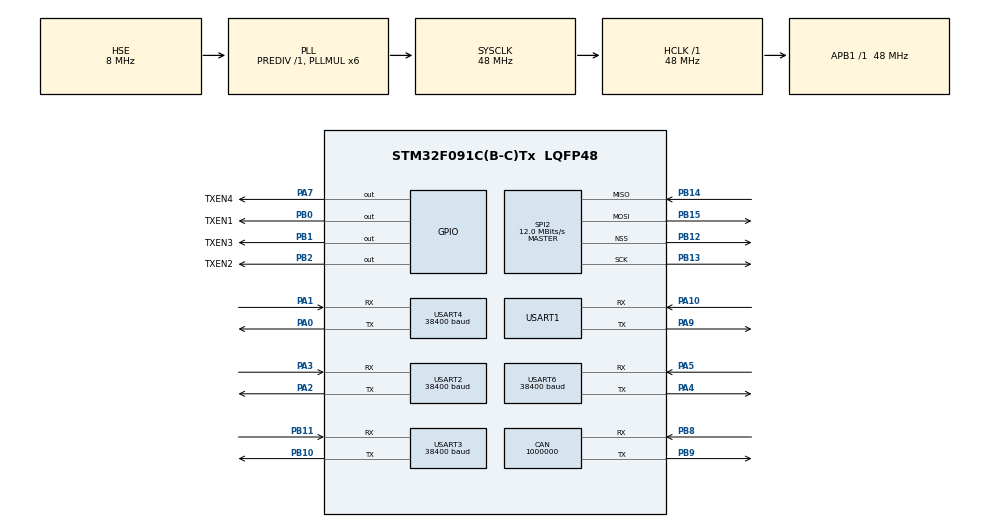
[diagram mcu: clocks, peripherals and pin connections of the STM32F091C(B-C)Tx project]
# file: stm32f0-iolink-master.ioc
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CAN.CalculateBaudRate=1000000
CAN.CalculateTimeQuantum=333.3333333333333
Dma.Request0=USART2_RX
Dma.Request1=USART2_TX
Dma.Request2=USART3_RX
Dma.Request3=USART3_TX
Dma.Request4=USART4_RX
Dma.Request5=USART4_TX
Dma.Request6=USART6_RX
Dma.Request7=USART6_TX
Dma.USART2_RX.0.Direction=DMA_PERIPH_TO_MEMORY
Dma.USART2_RX.0.Instance=DMA1_Channel1
Dma.USART2_RX.0.MemDataAlignment=DMA_MDATAALIGN_BYTE
Dma.USART2_RX.0.MemInc=DMA_MINC_ENABLE
Dma.USART2_RX.0.Mode=DMA_CIRCULAR
Dma.USART2_RX.0.PeriphDataAlignment=DMA_PDATAALIGN_BYTE
Dma.USART2_RX.0.PeriphInc=DMA_PINC_DISABLE
Dma.USART2_RX.0.Priority=DMA_PRIORITY_LOW
Dma.USART2_TX.1.Direction=DMA_MEMORY_TO_PERIPH
Dma.USART2_TX.1.Instance=DMA1_Channel2
Dma.USART2_TX.1.MemDataAlignment=DMA_MDATAALIGN_BYTE
Dma.USART2_TX.1.MemInc=DMA_MINC_ENABLE
Dma.USART2_TX.1.Mode=DMA_NORMAL
Dma.USART2_TX.1.PeriphDataAlignment=DMA_PDATAALIGN_BYTE
Dma.USART2_TX.1.PeriphInc=DMA_PINC_DISABLE
Dma.USART2_TX.1.Priority=DMA_PRIORITY_LOW
Dma.USART3_RX.2.Direction=DMA_PERIPH_TO_MEMORY
Dma.USART3_RX.2.Instance=DMA1_Channel3
Dma.USART3_RX.2.MemDataAlignment=DMA_MDATAALIGN_BYTE
Dma.USART3_RX.2.MemInc=DMA_MINC_ENABLE
Dma.USART3_RX.2.Mode=DMA_CIRCULAR
Dma.USART3_RX.2.PeriphDataAlignment=DMA_PDATAALIGN_BYTE
Dma.USART3_RX.2.PeriphInc=DMA_PINC_DISABLE
Dma.USART3_RX.2.Priority=DMA_PRIORITY_LOW
Dma.USART3_TX.3.Direction=DMA_MEMORY_TO_PERIPH
Dma.USART3_TX.3.Instance=DMA1_Channel4
Dma.USART3_TX.3.MemDataAlignment=DMA_MDATAALIGN_BYTE
Dma.USART3_TX.3.MemInc=DMA_MINC_ENABLE
Dma.USART3_TX.3.Mode=DMA_NORMAL
Dma.USART3_TX.3.PeriphDataAlignment=DMA_PDATAALIGN_BYTE
Dma.USART3_TX.3.PeriphInc=DMA_PINC_DISABLE
Dma.USART3_TX.3.Priority=DMA_PRIORITY_LOW
Dma.USART4_RX.4.Direction=DMA_PERIPH_TO_MEMORY
Dma.USART4_RX.4.Instance=DMA1_Channel5
Dma.USART4_RX.4.MemDataAlignment=DMA_MDATAALIGN_BYTE
Dma.USART4_RX.4.MemInc=DMA_MINC_ENABLE
Dma.USART4_RX.4.Mode=DMA_CIRCULAR
Dma.USART4_RX.4.PeriphDataAlignment=DMA_PDATAALIGN_BYTE
Dma.USART4_RX.4.PeriphInc=DMA_PINC_DISABLE
Dma.USART4_RX.4.Priority=DMA_PRIORITY_LOW
Dma.USART4_TX.5.Direction=DMA_MEMORY_TO_PERIPH
Dma.USART4_TX.5.Instance=DMA1_Channel7
Dma.USART4_TX.5.MemDataAlignment=DMA_MDATAALIGN_BYTE
Dma.USART4_TX.5.MemInc=DMA_MINC_ENABLE
Dma.USART4_TX.5.Mode=DMA_NORMAL
Dma.USART4_TX.5.PeriphDataAlignment=DMA_PDATAALIGN_BYTE
Dma.USART4_TX.5.PeriphInc=DMA_PINC_DISABLE
Dma.USART4_TX.5.Priority=DMA_PRIORITY_LOW
Dma.USART6_RX.6.Direction=DMA_PERIPH_TO_MEMORY
Dma.USART6_RX.6.Instance=DMA1_Channel6
Dma.USART6_RX.6.MemDataAlignment=DMA_MDATAALIGN_BYTE
Dma.USART6_RX.6.MemInc=DMA_MINC_ENABLE
Dma.USART6_RX.6.Mode=DMA_CIRCULAR
Dma.USART6_RX.6.PeriphDataAlignment=DMA_PDATAALIGN_BYTE
Dma.USART6_RX.6.PeriphInc=DMA_PINC_DISABLE
Dma.USART6_RX.6.Priority=DMA_PRIORITY_LOW
Dma.USART6_TX.7.Direction=DMA_MEMORY_TO_PERIPH
Dma.USART6_TX.7.Instance=DMA2_Channel1
Dma.USART6_TX.7.MemDataAlignment=DMA_MDATAALIGN_BYTE
Dma.USART6_TX.7.MemInc=DMA_MINC_ENABLE
Dma.USART6_TX.7.Mode=DMA_NORMAL
Dma.USART6_TX.7.PeriphDataAlignment=DMA_PDATAALIGN_BYTE
Dma.USART6_TX.7.PeriphInc=DMA_PINC_DISABLE
Dma.USART6_TX.7.Priority=DMA_PRIORITY_LOW
Mcu.Family=STM32F0
Mcu.Name=STM32F091C(B-C)Tx
Mcu.Package=LQFP48
NVIC.DMA1_Ch1_IRQn=true\:0\:0\:false\:false\:true\:false\:true\:true
NVIC.DMA1_Ch2_3_DMA2_Ch1_2_IRQn=true\:0\:0\:false\:false\:true\:false\:true\:true
NVIC.DMA1_Ch4_7_DMA2_Ch3_5_IRQn=true\:0\:0\:false\:false\:true\:false\:true\:true
NVIC.USART2_IRQn=true\:0\:0\:false\:false\:true\:true\:true\:true
NVIC.USART3_8_IRQn=true\:0\:0\:false\:false\:true\:true\:true\:true
PA0.Mode=Asynchronous
PA0.Signal=USART4_TX
PA1.Mode=Asynchronous
PA1.Signal=USART4_RX
PA10.Mode=Asynchronous
PA10.Signal=USART1_RX
PA13.Mode=Serial_Wire
PA13.Signal=SYS_SWDIO
PA14.Mode=Serial_Wire
PA14.Signal=SYS_SWCLK
PA2.Mode=Asynchronous
PA2.Signal=USART2_TX
PA3.Mode=Asynchronous
PA3.Signal=USART2_RX
PA4.Mode=Asynchronous
PA4.Signal=USART6_TX
PA5.Mode=Asynchronous
PA5.Signal=USART6_RX
PA7.GPIO_Label=TXEN4
PA7.Signal=GPIO_Output
PA9.Mode=Asynchronous
PA9.Signal=USART1_TX
PB0.GPIO_Label=TXEN1
PB0.Signal=GPIO_Output
PB1.GPIO_Label=TXEN3
PB1.Signal=GPIO_Output
PB10.Mode=Asynchronous
PB10.Signal=USART3_TX
PB11.Mode=Asynchronous
PB11.Signal=USART3_RX
PB12.Mode=NSS_Signal_Hard_Output
PB12.Signal=SPI2_NSS
PB13.Mode=Full_Duplex_Master
PB13.Signal=SPI2_SCK
PB14.Mode=Full_Duplex_Master
PB14.Signal=SPI2_MISO
PB15.Mode=Full_Duplex_Master
PB15.Signal=SPI2_MOSI
PB2.GPIO_Label=TXEN2
PB2.Signal=GPIO_Output
PB8.Mode=CAN_Activate
PB8.Signal=CAN_RX
PB9.Mode=CAN_Activate
PB9.Signal=CAN_TX
PF0-OSC_IN.Mode=HSE-External-Oscillator
PF0-OSC_IN.Signal=RCC_OSC_IN
PF1-OSC_OUT.Mode=HSE-External-Oscillator
PF1-OSC_OUT.Signal=RCC_OSC_OUT
ProjectManager.HeapSize=0x200
ProjectManager.StackSize=0x400
ProjectManager.TargetToolchain=STM32CubeIDE
RCC.AHBFreq_Value=48000000
RCC.APB1Freq_Value=48000000
RCC.APB1TimFreq_Value=48000000
RCC.HCLKFreq_Value=48000000
RCC.PLLMUL=RCC_PLL_MUL6
RCC.PLLSourceVirtual=RCC_PLLSOURCE_HSE
RCC.SYSCLKFreq_VALUE=48000000
RCC.SYSCLKSource=RCC_SYSCLKSOURCE_PLLCLK
SPI2.BaudRatePrescaler=SPI_BAUDRATEPRESCALER_4
SPI2.CalculateBaudRate=12.0 MBits/s
SPI2.DataSize=SPI_DATASIZE_16BIT
SPI2.Direction=SPI_DIRECTION_2LINES
SPI2.Mode=SPI_MODE_MASTER
SPI2.VirtualNSS=VM_NSSHARD
SPI2.VirtualType=VM_MASTER
TIM1.Prescaler=48-1
USART1.VirtualMode-Asynchronous=VM_ASYNC
USART2.BaudRate=38400
USART2.Parity=PARITY_EVEN
USART2.VirtualMode-Asynchronous=VM_ASYNC
USART2.WordLength=WORDLENGTH_9B
USART3.BaudRate=38400
USART3.Parity=PARITY_EVEN
USART3.VirtualMode-Asynchronous=VM_ASYNC
USART3.WordLength=WORDLENGTH_9B
USART4.BaudRate=38400
USART4.Parity=PARITY_EVEN
USART4.VirtualMode-Asynchronous=VM_ASYNC
USART4.WordLength=WORDLENGTH_9B
USART6.BaudRate=38400
USART6.Parity=PARITY_EVEN
USART6.VirtualMode=VM_ASYNC
USART6.WordLength=WORDLENGTH_9B
VP_TIM1_VS_ClockSourceINT.Mode=Internal
board=custom

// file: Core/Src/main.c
/* USER CODE BEGIN Header */
/**
  ******************************************************************************
  * @file           : main.c
  * @brief          : Main program body
  ******************************************************************************
  * @attention
  *
  * Copyright (c) 2024 STMicroelectronics.
  * All rights reserved.
  *
  * This software is licensed under terms that can be found in the LICENSE file
  * in the root directory of this software component.
  * If no LICENSE file comes with this software, it is provided AS-IS.
  *
  ******************************************************************************
  */
/* USER CODE END Header */
#include "main.h"

CAN_HandleTypeDef hcan;

SPI_HandleTypeDef hspi2;

TIM_HandleTypeDef htim1;

UART_HandleTypeDef huart1;
UART_HandleTypeDef huart2;
UART_HandleTypeDef huart3;
UART_HandleTypeDef huart4;
UART_HandleTypeDef huart6;
DMA_HandleTypeDef hdma_usart2_rx;
DMA_HandleTypeDef hdma_usart2_tx;
DMA_HandleTypeDef hdma_usart3_rx;
DMA_HandleTypeDef hdma_usart3_tx;
DMA_HandleTypeDef hdma_usart4_rx;
DMA_HandleTypeDef hdma_usart4_tx;
DMA_HandleTypeDef hdma_usart6_rx;
DMA_HandleTypeDef hdma_usart6_tx;

void SystemClock_Config(void);
static void MX_GPIO_Init(void);
static void MX_DMA_Init(void);
static void MX_TIM1_Init(void);
static void MX_CAN_Init(void);
static void MX_SPI2_Init(void);
static void MX_USART1_UART_Init(void);
static void MX_USART2_UART_Init(void);
static void MX_USART3_UART_Init(void);
static void MX_USART4_UART_Init(void);
static void MX_USART6_UART_Init(void);
/* USER CODE BEGIN PFP */
void iolink_main();
/* USER CODE END PFP */

int main(void)
{

  /* MCU Configuration--------------------------------------------------------*/

  /* Reset of all peripherals, Initializes the Flash interface and the Systick. */
  HAL_Init();

  /* Configure the system clock */
  SystemClock_Config();

  /* Initialize all configured peripherals */
  MX_GPIO_Init();
  MX_DMA_Init();
  MX_TIM1_Init();
  MX_CAN_Init();
  MX_SPI2_Init();
  MX_USART1_UART_Init();
  MX_USART2_UART_Init();
  MX_USART3_UART_Init();
  MX_USART4_UART_Init();
  MX_USART6_UART_Init();
  /* USER CODE BEGIN 2 */
  iolink_main();
  /* USER CODE END 2 */

  /* Infinite loop */
  while (1)
  {

  }
}

void SystemClock_Config(void)
{
  RCC_OscInitTypeDef RCC_OscInitStruct = {0};
  RCC_ClkInitTypeDef RCC_ClkInitStruct = {0};
  RCC_PeriphCLKInitTypeDef PeriphClkInit = {0};

  /** Initializes the RCC Oscillators according to the specified parameters
  * in the RCC_OscInitTypeDef structure.
  */
  RCC_OscInitStruct.OscillatorType = RCC_OSCILLATORTYPE_HSE;
  RCC_OscInitStruct.HSEState = RCC_HSE_ON;
  RCC_OscInitStruct.PLL.PLLState = RCC_PLL_ON;
  RCC_OscInitStruct.PLL.PLLSource = RCC_PLLSOURCE_HSE;
  RCC_OscInitStruct.PLL.PLLMUL = RCC_PLL_MUL6;
  RCC_OscInitStruct.PLL.PREDIV = RCC_PREDIV_DIV1;
  if (HAL_RCC_OscConfig(&RCC_OscInitStruct) != HAL_OK)
  {
    Error_Handler();
  }

  /** Initializes the CPU, AHB and APB buses clocks
  */
  RCC_ClkInitStruct.ClockType = RCC_CLOCKTYPE_HCLK|RCC_CLOCKTYPE_SYSCLK
                              |RCC_CLOCKTYPE_PCLK1;
  RCC_ClkInitStruct.SYSCLKSource = RCC_SYSCLKSOURCE_PLLCLK;
  RCC_ClkInitStruct.AHBCLKDivider = RCC_SYSCLK_DIV1;
  RCC_ClkInitStruct.APB1CLKDivider = RCC_HCLK_DIV1;

  if (HAL_RCC_ClockConfig(&RCC_ClkInitStruct, FLASH_LATENCY_1) != HAL_OK)
  {
    Error_Handler();
  }
  PeriphClkInit.PeriphClockSelection = RCC_PERIPHCLK_USART3|RCC_PERIPHCLK_USART1
                              |RCC_PERIPHCLK_USART2;
  PeriphClkInit.Usart1ClockSelection = RCC_USART1CLKSOURCE_PCLK1;
  PeriphClkInit.Usart2ClockSelection = RCC_USART2CLKSOURCE_PCLK1;
  PeriphClkInit.Usart3ClockSelection = RCC_USART3CLKSOURCE_PCLK1;
  if (HAL_RCCEx_PeriphCLKConfig(&PeriphClkInit) != HAL_OK)
  {
    Error_Handler();
  }
}

static void MX_CAN_Init(void)
{

  hcan.Instance = CAN;
  hcan.Init.Prescaler = 16;
  hcan.Init.Mode = CAN_MODE_NORMAL;
  hcan.Init.SyncJumpWidth = CAN_SJW_1TQ;
  hcan.Init.TimeSeg1 = CAN_BS1_1TQ;
  hcan.Init.TimeSeg2 = CAN_BS2_1TQ;
  hcan.Init.TimeTriggeredMode = DISABLE;
  hcan.Init.AutoBusOff = DISABLE;
  hcan.Init.AutoWakeUp = DISABLE;
  hcan.Init.AutoRetransmission = DISABLE;
  hcan.Init.ReceiveFifoLocked = DISABLE;
  hcan.Init.TransmitFifoPriority = DISABLE;
  if (HAL_CAN_Init(&hcan) != HAL_OK)
  {
    Error_Handler();
  }

}

static void MX_SPI2_Init(void)
{

  /* SPI2 parameter configuration*/
  hspi2.Instance = SPI2;
  hspi2.Init.Mode = SPI_MODE_MASTER;
  hspi2.Init.Direction = SPI_DIRECTION_2LINES;
  hspi2.Init.DataSize = SPI_DATASIZE_16BIT;
  hspi2.Init.CLKPolarity = SPI_POLARITY_LOW;
  hspi2.Init.CLKPhase = SPI_PHASE_1EDGE;
  hspi2.Init.NSS = SPI_NSS_HARD_OUTPUT;
  hspi2.Init.BaudRatePrescaler = SPI_BAUDRATEPRESCALER_4;
  hspi2.Init.FirstBit = SPI_FIRSTBIT_MSB;
  hspi2.Init.TIMode = SPI_TIMODE_DISABLE;
  hspi2.Init.CRCCalculation = SPI_CRCCALCULATION_DISABLE;
  hspi2.Init.CRCPolynomial = 7;
  hspi2.Init.CRCLength = SPI_CRC_LENGTH_DATASIZE;
  hspi2.Init.NSSPMode = SPI_NSS_PULSE_ENABLE;
  if (HAL_SPI_Init(&hspi2) != HAL_OK)
  {
    Error_Handler();
  }

}

static void MX_TIM1_Init(void)
{

  TIM_ClockConfigTypeDef sClockSourceConfig = {0};
  TIM_MasterConfigTypeDef sMasterConfig = {0};

  htim1.Instance = TIM1;
  htim1.Init.Prescaler = 48-1;
  htim1.Init.CounterMode = TIM_COUNTERMODE_UP;
  htim1.Init.Period = 65535;
  htim1.Init.ClockDivision = TIM_CLOCKDIVISION_DIV1;
  htim1.Init.RepetitionCounter = 0;
  htim1.Init.AutoReloadPreload = TIM_AUTORELOAD_PRELOAD_DISABLE;
  if (HAL_TIM_Base_Init(&htim1) != HAL_OK)
  {
    Error_Handler();
  }
  sClockSourceConfig.ClockSource = TIM_CLOCKSOURCE_INTERNAL;
  if (HAL_TIM_ConfigClockSource(&htim1, &sClockSourceConfig) != HAL_OK)
  {
    Error_Handler();
  }
  sMasterConfig.MasterOutputTrigger = TIM_TRGO_RESET;
  sMasterConfig.MasterSlaveMode = TIM_MASTERSLAVEMODE_DISABLE;
  if (HAL_TIMEx_MasterConfigSynchronization(&htim1, &sMasterConfig) != HAL_OK)
  {
    Error_Handler();
  }

}

static void MX_USART1_UART_Init(void)
{

  huart1.Instance = USART1;
  huart1.Init.BaudRate = 115200;
  huart1.Init.WordLength = UART_WORDLENGTH_8B;
  huart1.Init.StopBits = UART_STOPBITS_1;
  huart1.Init.Parity = UART_PARITY_NONE;
  huart1.Init.Mode = UART_MODE_TX_RX;
  huart1.Init.HwFlowCtl = UART_HWCONTROL_NONE;
  huart1.Init.OverSampling = UART_OVERSAMPLING_16;
  huart1.Init.OneBitSampling = UART_ONE_BIT_SAMPLE_DISABLE;
  huart1.AdvancedInit.AdvFeatureInit = UART_ADVFEATURE_NO_INIT;
  if (HAL_UART_Init(&huart1) != HAL_OK)
  {
    Error_Handler();
  }

}

static void MX_USART2_UART_Init(void)
{

  huart2.Instance = USART2;
  huart2.Init.BaudRate = 38400;
  huart2.Init.WordLength = UART_WORDLENGTH_9B;
  huart2.Init.StopBits = UART_STOPBITS_1;
  huart2.Init.Parity = UART_PARITY_EVEN;
  huart2.Init.Mode = UART_MODE_TX_RX;
  huart2.Init.HwFlowCtl = UART_HWCONTROL_NONE;
  huart2.Init.OverSampling = UART_OVERSAMPLING_16;
  huart2.Init.OneBitSampling = UART_ONE_BIT_SAMPLE_DISABLE;
  huart2.AdvancedInit.AdvFeatureInit = UART_ADVFEATURE_NO_INIT;
  if (HAL_UART_Init(&huart2) != HAL_OK)
  {
    Error_Handler();
  }

}

static void MX_USART3_UART_Init(void)
{

  huart3.Instance = USART3;
  huart3.Init.BaudRate = 38400;
  huart3.Init.WordLength = UART_WORDLENGTH_9B;
  huart3.Init.StopBits = UART_STOPBITS_1;
  huart3.Init.Parity = UART_PARITY_EVEN;
  huart3.Init.Mode = UART_MODE_TX_RX;
  huart3.Init.HwFlowCtl = UART_HWCONTROL_NONE;
  huart3.Init.OverSampling = UART_OVERSAMPLING_16;
  huart3.Init.OneBitSampling = UART_ONE_BIT_SAMPLE_DISABLE;
  huart3.AdvancedInit.AdvFeatureInit = UART_ADVFEATURE_NO_INIT;
  if (HAL_UART_Init(&huart3) != HAL_OK)
  {
    Error_Handler();
  }

}

static void MX_USART4_UART_Init(void)
{

  huart4.Instance = USART4;
  huart4.Init.BaudRate = 38400;
  huart4.Init.WordLength = UART_WORDLENGTH_9B;
  huart4.Init.StopBits = UART_STOPBITS_1;
  huart4.Init.Parity = UART_PARITY_EVEN;
  huart4.Init.Mode = UART_MODE_TX_RX;
  huart4.Init.HwFlowCtl = UART_HWCONTROL_NONE;
  huart4.Init.OverSampling = UART_OVERSAMPLING_16;
  huart4.Init.OneBitSampling = UART_ONE_BIT_SAMPLE_DISABLE;
  huart4.AdvancedInit.AdvFeatureInit = UART_ADVFEATURE_NO_INIT;
  if (HAL_UART_Init(&huart4) != HAL_OK)
  {
    Error_Handler();
  }

}

static void MX_USART6_UART_Init(void)
{

  huart6.Instance = USART6;
  huart6.Init.BaudRate = 38400;
  huart6.Init.WordLength = UART_WORDLENGTH_9B;
  huart6.Init.StopBits = UART_STOPBITS_1;
  huart6.Init.Parity = UART_PARITY_EVEN;
  huart6.Init.Mode = UART_MODE_TX_RX;
  huart6.Init.HwFlowCtl = UART_HWCONTROL_NONE;
  huart6.Init.OverSampling = UART_OVERSAMPLING_16;
  huart6.Init.OneBitSampling = UART_ONE_BIT_SAMPLE_DISABLE;
  huart6.AdvancedInit.AdvFeatureInit = UART_ADVFEATURE_NO_INIT;
  if (HAL_UART_Init(&huart6) != HAL_OK)
  {
    Error_Handler();
  }

}

static void MX_DMA_Init(void)
{

  /* DMA controller clock enable */
  __HAL_RCC_DMA1_CLK_ENABLE();
  __HAL_RCC_DMA2_CLK_ENABLE();

  /* DMA interrupt init */
  /* DMA1_Ch1_IRQn interrupt configuration */
  HAL_NVIC_SetPriority(DMA1_Ch1_IRQn, 0, 0);
  HAL_NVIC_EnableIRQ(DMA1_Ch1_IRQn);
  /* DMA1_Ch2_3_DMA2_Ch1_2_IRQn interrupt configuration */
  HAL_NVIC_SetPriority(DMA1_Ch2_3_DMA2_Ch1_2_IRQn, 0, 0);
  HAL_NVIC_EnableIRQ(DMA1_Ch2_3_DMA2_Ch1_2_IRQn);
  /* DMA1_Ch4_7_DMA2_Ch3_5_IRQn interrupt configuration */
  HAL_NVIC_SetPriority(DMA1_Ch4_7_DMA2_Ch3_5_IRQn, 0, 0);
  HAL_NVIC_EnableIRQ(DMA1_Ch4_7_DMA2_Ch3_5_IRQn);

}

static void MX_GPIO_Init(void)
{
  GPIO_InitTypeDef GPIO_InitStruct = {0};

  /* GPIO Ports Clock Enable */
  __HAL_RCC_GPIOF_CLK_ENABLE();
  __HAL_RCC_GPIOA_CLK_ENABLE();
  __HAL_RCC_GPIOB_CLK_ENABLE();

  /*Configure GPIO pin Output Level */
  HAL_GPIO_WritePin(TXEN4_GPIO_Port, TXEN4_Pin, GPIO_PIN_RESET);

  /*Configure GPIO pin Output Level */
  HAL_GPIO_WritePin(GPIOB, TXEN1_Pin|TXEN3_Pin|TXEN2_Pin, GPIO_PIN_RESET);

  /*Configure GPIO pin : TXEN4_Pin */
  GPIO_InitStruct.Pin = TXEN4_Pin;
  GPIO_InitStruct.Mode = GPIO_MODE_OUTPUT_PP;
  GPIO_InitStruct.Pull = GPIO_NOPULL;
  GPIO_InitStruct.Speed = GPIO_SPEED_FREQ_LOW;
  HAL_GPIO_Init(TXEN4_GPIO_Port, &GPIO_InitStruct);

  /*Configure GPIO pins : TXEN1_Pin TXEN3_Pin TXEN2_Pin */
  GPIO_InitStruct.Pin = TXEN1_Pin|TXEN3_Pin|TXEN2_Pin;
  GPIO_InitStruct.Mode = GPIO_MODE_OUTPUT_PP;
  GPIO_InitStruct.Pull = GPIO_NOPULL;
  GPIO_InitStruct.Speed = GPIO_SPEED_FREQ_LOW;
  HAL_GPIO_Init(GPIOB, &GPIO_InitStruct);

}

/* USER CODE BEGIN 4 */
void HAL_UART_TxCpltCallback(UART_HandleTypeDef *huart) {
  if (huart->Instance == USART2) {
    HAL_GPIO_WritePin(TXEN1_GPIO_Port, TXEN1_Pin, GPIO_PIN_RESET);
  } else if (huart->Instance == USART3) {
    HAL_GPIO_WritePin(TXEN2_GPIO_Port, TXEN2_Pin, GPIO_PIN_RESET);
  } else if (huart->Instance == USART4) {
    HAL_GPIO_WritePin(TXEN3_GPIO_Port, TXEN3_Pin, GPIO_PIN_RESET);
  } else if (huart->Instance == USART6) {
    HAL_GPIO_WritePin(TXEN4_GPIO_Port, TXEN4_Pin, GPIO_PIN_RESET);
  }
}

int _write(int file, char *ptr, int len) {
  (void)file;
  HAL_UART_Transmit(&huart1, (uint8_t *)ptr, len, HAL_MAX_DELAY);
  return len;
}
/* USER CODE END 4 */

void Error_Handler(void)
{
  __disable_irq();
  while (1)
  {
  }
}
